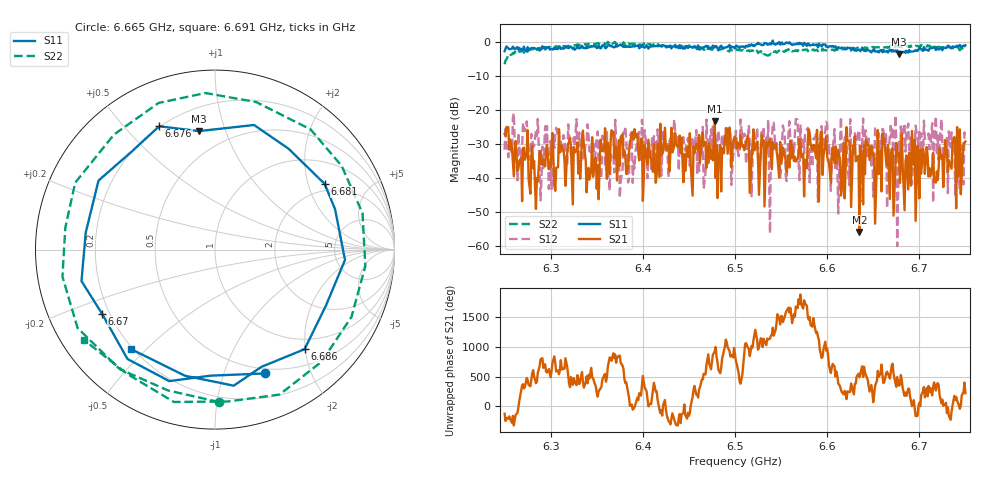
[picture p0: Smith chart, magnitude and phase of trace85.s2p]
# Hz S RI R 50
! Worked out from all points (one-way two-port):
!   401 points, 6.25 GHz to 6.75 GHz, reference 50 ohm
!   highest |S21| = -23.26 dB at 6.478 GHz (marker M1); lowest = -55.8 dB at 6.635 GHz (marker M2)
!   lowest |S11| = -3.5 dB at 6.678 GHz (marker M3), VSWR 4.99, Z = 17.1 + j40.7 ohm
!   |S11| at or under -10 dB: nowhere
!   |S22| runs from -6.5 to 0.1 dB; largest |S21 - S12| = 0.1
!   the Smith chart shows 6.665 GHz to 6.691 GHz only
!   S11 on the Smith chart (normalised r, x): 6.665 GHz: 0.45, -1.38; 6.67 GHz: 0.17, -0.26; 6.676 GHz: 0.20, +0.63; 6.681 GHz: 1.73, +2.57; 6.686 GHz: 0.79, -1.99; 6.691 GHz: 0.19, -0.45
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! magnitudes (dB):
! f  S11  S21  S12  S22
! 6.25 GHz  -2.7  -27.0  -31.6  -6.5
! 6.284 GHz  -2.0  -49.0  -26.1  -1.8
! 6.29 GHz  -2.1  -35.8  -40.3  -1.7
! 6.305 GHz  -1.8  -43.7  -27.1  -1.3
! 6.334 GHz  -1.1  -27.8  -31.4  -0.6
! 6.341 GHz  -1.6  -37.0  -27.1  -0.5
! 6.418 GHz  -1.1  -39.6  -31.6  -1.1
! 6.478 GHz  -1.6  -23.3  -31.6  -2.3
! 6.5 GHz  -1.8  -27.7  -30.9  -2.3
! 6.584 GHz  -0.9  -31.7  -36.7  -2.3
! 6.635 GHz  -2.2  -55.8  -26.0  -1.7
! 6.665 GHz  -2.6  -36.3  -48.8  -1.4
! 6.668 GHz  -2.2  -46.1  -27.7  -1.4
! 6.67 GHz  -2.8  -31.4  -28.0  -1.3
! 6.676 GHz  -2.4  -33.6  -60.0  -1.2
! 6.678 GHz  -3.5  -32.6  -29.3  -1.4
! 6.681 GHz  -2.9  -27.0  -36.5  -1.4
! 6.686 GHz  -2.5  -33.3  -27.0  -1.1
! 6.691 GHz  -2.8  -42.2  -28.0  -1.0
! 6.735 GHz  -1.8  -37.2  -26.5  -1.6
! 6.741 GHz  -1.0  -25.0  -41.7  -1.6
! 6.75 GHz  -0.9  -29.2  -28.5  -2.2
